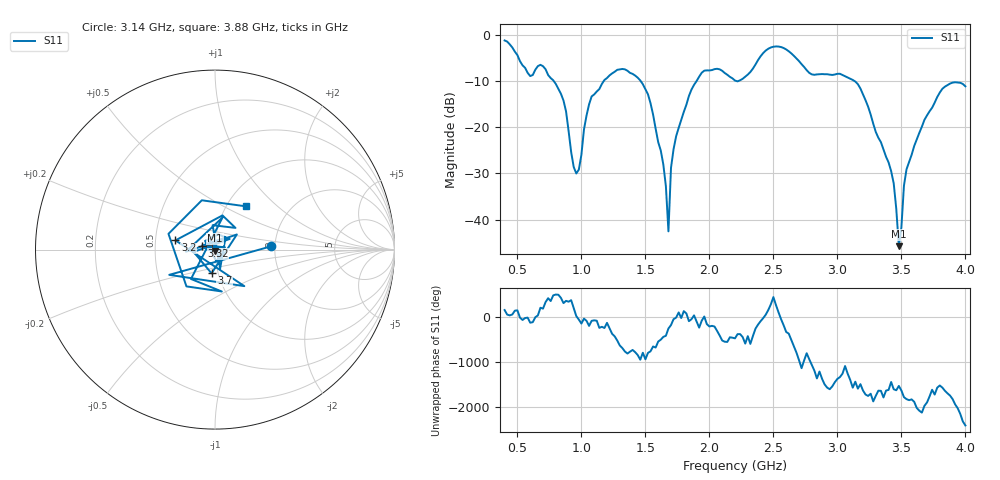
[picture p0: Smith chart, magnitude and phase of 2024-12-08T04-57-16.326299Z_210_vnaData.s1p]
!Created with skrf (http://scikit-rf.org).
# Hz S RI R 50.0
!freq ReS11 ImS11
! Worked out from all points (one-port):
!   181 points, 400 MHz to 4 GHz, reference 50 ohm
!   lowest |S11| = -45.7 dB at 3.48 GHz (marker M1), VSWR 1.01, Z = 50 - j0.518 ohm
!   |S11| at or under -10 dB: 782.9 MHz to 1.176 GHz (392.7 MHz wide, 40.1 % of centre); 1.462 GHz to 1.901 GHz (438.9 MHz wide, 26.1 % of centre); 3.131 GHz to end of sweep (the widest 3 of 4)
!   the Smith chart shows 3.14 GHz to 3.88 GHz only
!   S11 on the Smith chart (normalised r, x): 3.14 GHz: 1.90, +0.07; 3.2 GHz: 0.64, +0.07; 3.32 GHz: 0.86, +0.04; 3.7 GHz: 0.93, -0.25; 3.88 GHz: 1.22, +0.65
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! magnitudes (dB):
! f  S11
! 400 MHz  -1.3
! 600 MHz  -9.0
! 700 MHz  -6.8
! 860 MHz  -14.2
! 960 MHz  -30.0
! 1.08 GHz  -13.4
! 1.3 GHz  -7.5
! 1.52 GHz  -12.9
! 1.64 GHz  -28.1
! 1.66 GHz  -32.7
! 1.68 GHz  -42.5
! 1.7 GHz  -28.8
! 1.76 GHz  -20.1
! 1.94 GHz  -8.3
! 2.2 GHz  -9.9
! 2.48 GHz  -2.8
! 2.66 GHz  -4.6
! 3.1 GHz  -9.6
! 3.14 GHz  -10.2
! 3.2 GHz  -12.9
! 3.32 GHz  -22.3
! 3.44 GHz  -32.2
! 3.48 GHz  -45.7
! 3.52 GHz  -32.6
! 3.56 GHz  -27.5
! 3.7 GHz  -17.5
! 3.88 GHz  -10.6
! 4 GHz  -11.2
